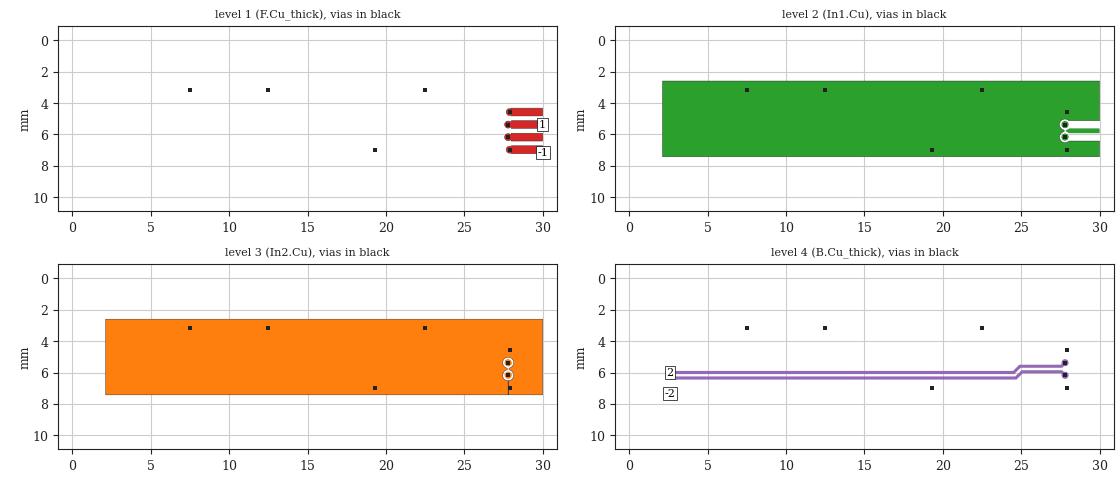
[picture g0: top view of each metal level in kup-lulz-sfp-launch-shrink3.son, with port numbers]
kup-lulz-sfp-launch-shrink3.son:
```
FTYP SONPROJ 19 ! Sonnet Project File
VER 18.56
HEADER
LIC antikernel2.1.52448
DAT 03/01/2024 21:17:01
BUILT_BY_CREATED dxf 18.56 02/22/2024 23:40:04
BUILT_BY_SAVED sonnet 18.56
MDATE 03/01/2024 21:17:01
HDATE 03/01/2024 21:17:01
ANN Created by dxfgeo, Sonnet Software Inc.
END HEADER
DIM
ANG DEG
CAP PF
CON /OH
FREQ GHZ
IND NH
LNG MM
RES OH
END DIM
CONTROL
VARSWP
OPTIONS  -dj
SPEED 1
CACHE_ABS 2
Q_ACC N
END CONTROL
GEO
TMET "Free Space" 0 FREESPACE 376.7303136 0 0 0
BMET "Free Space" 0 FREESPACE 376.7303136 0 0 0
MET "Copper_1oz+plated_thick_up" 1 TMM 58000000 0.5 0.0432 2
MET "Copper_1oz+plated_thin" 4 NOR 58000000 0.5 0.0432 
MET "Copper_0.5oz_thin" 2 NOR 58000000 0.5 0.0175 
MET "Copper_1oz+plated_thick_down" 3 TMM 58000000 0.5 0.0432 2 CDVY TDWN
BOX 6 30 10 2400 800 20 0
      10 1 1 0 0 0 0 "Air"
      0.05 3.5 1 0.02 0 0 0 "Soldermask"
      0.2021 3.61 1 0.0092 0 0 0 "Isola_FR408HR"
      1.1938 3.61 1 0.0092 0 0 0 "Isola_FR408HR"
      0.2021 3.61 1 0.0092 0 0 0 "Isola_FR408HR"
      0.05 3.5 1 0.02 0 0 0 "Soldermask"
      10 1 1 0 0 0 0 "Air"
TECHLAY METAL F.Cu_thick L1D0 -1 -65534 CAD F.Cu drawing 
1 0 0 N 2088 1 1 100 100 0 0 0 Y
END
END
TECHLAY METAL F.Cu_thin <UNSPECIFIED> -2 -65534 CAD F.Cu_thin drawing 
1 0 1 N 2090 1 1 100 100 0 0 0 Y
END
END
TECHLAY VIA Via1 L5D0 -7 -65534 CAD Via1 drawing 
VIA POLYGON
1 0 -1 N 2604 1 1 100 100 0 0 0 Y
TOLEVEL 4 RING NOCOVERS
END
END
TECHLAY METAL In1.Cu L2D0 -3 -65534 CAD In1.Cu drawing 
2 0 2 N 2095 1 1 100 100 0 0 0 Y
END
END
TECHLAY METAL In2.Cu L3D0 -4 -65534 CAD In2.Cu drawing 
3 0 2 N 2098 1 1 100 100 0 0 0 Y
END
END
TECHLAY METAL B.Cu_thick L4D0 -5 -65534 CAD B.Cu drawing 
4 0 3 N 2101 1 1 100 100 0 0 0 Y
END
END
TECHLAY METAL B.Cu_thin <UNSPECIFIED> -6 -65534 CAD B.Cu_thin drawing 
4 0 1 N 2103 1 1 100 100 0 0 0 Y
END
END
LORGN 0 10 U 
POR1 BOX
POLY 2221 1
51
1 100 0 0 0 29.993 5.371 
POR1 BOX
POLY 2454 1
51
-1 100 0 0 0 29.993 6.171 
POR1 CUP Auto
GNDREF AUTO
TERMW FEED
POLY 2587 1
84
2 100 0 0 0 2.6 5.996 
CUPGRP "Auto" LOCAL
ID 2605
END
POR1 CUP Auto
GNDREF AUTO
TERMW FEED
POLY 2588 1
82
-2 100 0 0 0 2.6 6.346 
CUPGRP "Auto" LOCAL
ID 2606
END
NUM 21
1 53 0 N 2221 1 1 100 100 0 0 0 Y
TLAYNAM F.Cu_thick INH
29.993 5.621
27.993 5.621
27.993 5.561
27.914 5.561
27.909 5.564
27.889 5.574
27.869 5.583
27.848 5.589
27.826 5.594
27.804 5.596
27.782 5.596
27.76 5.594
27.738 5.589
27.717 5.583
27.697 5.574
27.677 5.564
27.659 5.552
27.642 5.538
27.626 5.522
27.612 5.505
27.6 5.487
27.59 5.467
27.581 5.447
27.575 5.426
27.57 5.404
27.568 5.382
27.568 5.36
27.57 5.338
27.575 5.316
27.581 5.295
27.59 5.275
27.6 5.255
27.612 5.237
27.626 5.22
27.642 5.204
27.659 5.19
27.677 5.178
27.697 5.168
27.717 5.159
27.738 5.153
27.76 5.148
27.782 5.146
27.804 5.146
27.826 5.148
27.848 5.153
27.869 5.159
27.889 5.168
27.909 5.178
27.914 5.181
27.993 5.181
27.993 5.121
29.993 5.121
29.993 5.621
END
1 49 0 N 2225 1 1 100 100 0 0 0 Y
TLAYNAM F.Cu_thick INH
29.993 7.221
27.993 7.221
27.993 7.172
27.989 7.174
27.969 7.183
27.948 7.189
27.926 7.194
27.904 7.196
27.882 7.196
27.86 7.194
27.838 7.189
27.817 7.183
27.797 7.174
27.777 7.164
27.759 7.152
27.742 7.138
27.726 7.122
27.712 7.105
27.7 7.087
27.69 7.067
27.681 7.047
27.675 7.026
27.67 7.004
27.668 6.982
27.668 6.96
27.67 6.938
27.675 6.916
27.681 6.895
27.69 6.875
27.7 6.855
27.712 6.837
27.726 6.82
27.742 6.804
27.759 6.79
27.777 6.778
27.797 6.768
27.817 6.759
27.838 6.753
27.86 6.748
27.882 6.746
27.904 6.746
27.926 6.748
27.948 6.753
27.969 6.759
27.989 6.768
27.993 6.77
27.993 6.721
29.993 6.721
29.993 7.221
END
1 49 0 N 2400 1 1 100 100 0 0 0 Y
TLAYNAM F.Cu_thick INH
29.993 4.821
27.993 4.821
27.993 4.772
27.989 4.774
27.969 4.783
27.948 4.789
27.926 4.794
27.904 4.796
27.882 4.796
27.86 4.794
27.838 4.789
27.817 4.783
27.797 4.774
27.777 4.764
27.759 4.752
27.742 4.738
27.726 4.722
27.712 4.705
27.7 4.687
27.69 4.667
27.681 4.647
27.675 4.626
27.67 4.604
27.668 4.582
27.668 4.56
27.67 4.538
27.675 4.516
27.681 4.495
27.69 4.475
27.7 4.455
27.712 4.437
27.726 4.42
27.742 4.404
27.759 4.39
27.777 4.378
27.797 4.368
27.817 4.359
27.838 4.353
27.86 4.348
27.882 4.346
27.904 4.346
27.926 4.348
27.948 4.353
27.969 4.359
27.989 4.368
27.993 4.37
27.993 4.321
29.993 4.321
29.993 4.821
END
1 53 0 N 2454 1 1 100 100 0 0 0 Y
TLAYNAM F.Cu_thick INH
29.993 6.421
27.993 6.421
27.993 6.361
27.914 6.361
27.909 6.364
27.889 6.374
27.869 6.383
27.848 6.389
27.826 6.394
27.804 6.396
27.782 6.396
27.76 6.394
27.738 6.389
27.717 6.383
27.697 6.374
27.677 6.364
27.659 6.352
27.642 6.338
27.626 6.322
27.612 6.305
27.6 6.287
27.59 6.267
27.581 6.247
27.575 6.226
27.57 6.204
27.568 6.182
27.568 6.16
27.57 6.138
27.575 6.116
27.581 6.095
27.59 6.075
27.6 6.055
27.612 6.037
27.626 6.02
27.642 6.004
27.659 5.99
27.677 5.978
27.697 5.968
27.717 5.959
27.738 5.953
27.76 5.948
27.782 5.946
27.804 5.946
27.826 5.948
27.848 5.953
27.869 5.959
27.889 5.968
27.909 5.978
27.914 5.981
27.993 5.981
27.993 5.921
29.993 5.921
29.993 6.421
END
VIA POLYGON
1 5 -1 N 2214 1 1 100 100 0 0 0 Y
TOLEVEL 4 RING NOCOVERS
TLAYNAM Via1 INH
28.018 7.096
27.768 7.096
27.768 6.846
28.018 6.846
28.018 7.096
END
VIA POLYGON
1 5 -1 N 2230 1 1 100 100 0 0 0 Y
TOLEVEL 4 RING NOCOVERS
TLAYNAM Via1 INH
19.418 7.096
19.168 7.096
19.168 6.846
19.418 6.846
19.418 7.096
END
VIA POLYGON
1 5 -1 N 2265 1 1 100 100 0 0 0 Y
TOLEVEL 4 RING NOCOVERS
TLAYNAM Via1 INH
27.918 5.496
27.668 5.496
27.668 5.246
27.918 5.246
27.918 5.496
END
VIA POLYGON
1 5 -1 N 2286 1 1 100 100 0 0 0 Y
TOLEVEL 4 RING NOCOVERS
TLAYNAM Via1 INH
28.018 4.696
27.768 4.696
27.768 4.446
28.018 4.446
28.018 4.696
END
VIA POLYGON
1 5 -1 N 2346 1 1 100 100 0 0 0 Y
TOLEVEL 4 RING NOCOVERS
TLAYNAM Via1 INH
27.918 6.296
27.668 6.296
27.668 6.046
27.918 6.046
27.918 6.296
END
VIA POLYGON
1 5 -1 N 2384 1 1 100 100 0 0 0 Y
TOLEVEL 4 RING NOCOVERS
TLAYNAM Via1 INH
7.618 3.296
7.368 3.296
7.368 3.046
7.618 3.046
7.618 3.296
END
VIA POLYGON
1 5 -1 N 2434 1 1 100 100 0 0 0 Y
TOLEVEL 4 RING NOCOVERS
TLAYNAM Via1 INH
12.618 3.296
12.368 3.296
12.368 3.046
12.618 3.046
12.618 3.296
END
VIA POLYGON
1 5 -1 N 2448 1 1 100 100 0 0 0 Y
TOLEVEL 4 RING NOCOVERS
TLAYNAM Via1 INH
22.618 3.296
22.368 3.296
22.368 3.046
22.618 3.046
22.618 3.296
END
2 65 2 N 2275 1 1 100 100 0 0 0 Y
TLAYNAM In1.Cu INH
28.018 6.182
28.016 6.204
28.011 6.226
28.005 6.247
27.996 6.267
27.986 6.287
27.974 6.305
27.96 6.322
27.944 6.338
27.927 6.352
27.909 6.364
27.889 6.374
27.869 6.383
27.848 6.389
27.826 6.394
27.804 6.396
27.782 6.396
27.76 6.394
27.738 6.389
27.717 6.383
27.697 6.374
27.677 6.364
27.659 6.352
27.642 6.338
27.626 6.322
27.612 6.305
27.6 6.287
27.59 6.267
27.581 6.247
27.575 6.226
27.57 6.204
27.568 6.182
27.568 6.16
27.57 6.138
27.575 6.116
27.581 6.095
27.59 6.075
27.6 6.055
27.612 6.037
27.626 6.02
27.642 6.004
27.659 5.99
27.677 5.978
27.697 5.968
27.717 5.959
27.738 5.953
27.76 5.948
27.782 5.946
27.804 5.946
27.826 5.948
27.848 5.953
27.869 5.959
27.889 5.968
27.909 5.978
27.927 5.99
27.944 6.004
27.96 6.02
27.974 6.037
27.986 6.055
27.996 6.075
28.005 6.095
28.011 6.116
28.016 6.138
28.018 6.16
28.018 6.182
END
2 65 2 N 2277 1 1 100 100 0 0 0 Y
TLAYNAM In1.Cu INH
28.018 5.382
28.016 5.404
28.011 5.426
28.005 5.447
27.996 5.467
27.986 5.487
27.974 5.505
27.96 5.522
27.944 5.538
27.927 5.552
27.909 5.564
27.889 5.574
27.869 5.583
27.848 5.589
27.826 5.594
27.804 5.596
27.782 5.596
27.76 5.594
27.738 5.589
27.717 5.583
27.697 5.574
27.677 5.564
27.659 5.552
27.642 5.538
27.626 5.522
27.612 5.505
27.6 5.487
27.59 5.467
27.581 5.447
27.575 5.426
27.57 5.404
27.568 5.382
27.568 5.36
27.57 5.338
27.575 5.316
27.581 5.295
27.59 5.275
27.6 5.255
27.612 5.237
27.626 5.22
27.642 5.204
27.659 5.19
27.677 5.178
27.697 5.168
27.717 5.159
27.738 5.153
27.76 5.148
27.782 5.146
27.804 5.146
27.826 5.148
27.848 5.153
27.869 5.159
27.889 5.168
27.909 5.178
27.927 5.19
27.944 5.204
27.96 5.22
27.974 5.237
27.986 5.255
27.996 5.275
28.005 5.295
28.011 5.316
28.016 5.338
28.018 5.36
28.018 5.382
END
2 16 2 N 2478 1 1 100 100 0 0 0 Y
TLAYNAM In1.Cu INH
29.993 5.621
28.064 5.621
28.021 5.639
28.002 5.658
27.903 5.708
27.892 5.71
27.865 5.721
27.84 5.761
27.851 5.807
27.892 5.832
27.903 5.833
28.002 5.884
28.021 5.903
28.064 5.921
29.993 5.921
29.993 5.621
END
2 44 2 N 2585 1 1 100 100 0 0 0 Y
TLAYNAM In1.Cu INH
29.993 6.421
28.064 6.421
28.021 6.439
28.002 6.458
27.903 6.508
27.793 6.526
27.683 6.508
27.584 6.458
27.578 6.452
27.578 6.452
27.506 6.38
27.456 6.281
27.438 6.171
27.456 6.061
27.506 5.962
27.584 5.884
27.683 5.833
27.694 5.832
27.721 5.821
27.746 5.781
27.735 5.735
27.694 5.71
27.683 5.708
27.584 5.658
27.506 5.58
27.456 5.481
27.438 5.371
27.456 5.261
27.506 5.162
27.584 5.084
27.683 5.033
27.793 5.016
27.903 5.033
27.944 5.055
28.002 5.084
28.021 5.103
28.064 5.121
29.993 5.121
29.993 4.775
29.993 2.594
2.125 2.594
2.125 7.421
29.993 7.421
29.993 6.421
END
3 65 2 N 2252 1 1 100 100 0 0 0 Y
TLAYNAM In2.Cu INH
28.018 6.182
28.016 6.204
28.011 6.226
28.005 6.247
27.996 6.267
27.986 6.287
27.974 6.305
27.96 6.322
27.944 6.338
27.927 6.352
27.909 6.364
27.889 6.374
27.869 6.383
27.848 6.389
27.826 6.394
27.804 6.396
27.782 6.396
27.76 6.394
27.738 6.389
27.717 6.383
27.697 6.374
27.677 6.364
27.659 6.352
27.642 6.338
27.626 6.322
27.612 6.305
27.6 6.287
27.59 6.267
27.581 6.247
27.575 6.226
27.57 6.204
27.568 6.182
27.568 6.16
27.57 6.138
27.575 6.116
27.581 6.095
27.59 6.075
27.6 6.055
27.612 6.037
27.626 6.02
27.642 6.004
27.659 5.99
27.677 5.978
27.697 5.968
27.717 5.959
27.738 5.953
27.76 5.948
27.782 5.946
27.804 5.946
27.826 5.948
27.848 5.953
27.869 5.959
27.889 5.968
27.909 5.978
27.927 5.99
27.944 6.004
27.96 6.02
27.974 6.037
27.986 6.055
27.996 6.075
28.005 6.095
28.011 6.116
28.016 6.138
28.018 6.16
28.018 6.182
END
3 65 2 N 2411 1 1 100 100 0 0 0 Y
TLAYNAM In2.Cu INH
28.018 5.382
28.016 5.404
28.011 5.426
28.005 5.447
27.996 5.467
27.986 5.487
27.974 5.505
27.96 5.522
27.944 5.538
27.927 5.552
27.909 5.564
27.889 5.574
27.869 5.583
27.848 5.589
27.826 5.594
27.804 5.596
27.782 5.596
27.76 5.594
27.738 5.589
27.717 5.583
27.697 5.574
27.677 5.564
27.659 5.552
27.642 5.538
27.626 5.522
27.612 5.505
27.6 5.487
27.59 5.467
27.581 5.447
27.575 5.426
27.57 5.404
27.568 5.382
27.568 5.36
27.57 5.338
27.575 5.316
27.581 5.295
27.59 5.275
27.6 5.255
27.612 5.237
27.626 5.22
27.642 5.204
27.659 5.19
27.677 5.178
27.697 5.168
27.717 5.159
27.738 5.153
27.76 5.148
27.782 5.146
27.804 5.146
27.826 5.148
27.848 5.153
27.869 5.159
27.889 5.168
27.909 5.178
27.927 5.19
27.944 5.204
27.96 5.22
27.974 5.237
27.986 5.255
27.996 5.275
28.005 5.295
28.011 5.316
28.016 5.338
28.018 5.36
28.018 5.382
END
3 64 2 N 2586 1 1 100 100 0 0 0 Y
TLAYNAM In2.Cu INH
29.993 4.825
29.993 3.972
29.993 3.57
29.993 3.172
29.993 2.77
29.993 2.631454545
29.993 2.594
2.125 2.594
2.125 7.421
27.793 7.421
27.793 6.526
27.683 6.508
27.584 6.458
27.578 6.452
27.506 6.38
27.456 6.281
27.438 6.171
27.456 6.061
27.506 5.962
27.584 5.884
27.683 5.833
27.694 5.832
27.721 5.821
27.746 5.781
27.735 5.735
27.694 5.71
27.683 5.708
27.584 5.658
27.506 5.58
27.456 5.481
27.438 5.371
27.456 5.261
27.506 5.162
27.584 5.084
27.683 5.033
27.793 5.016
27.903 5.033
27.944 5.055
28.002 5.084
28.08 5.162
28.131 5.261
28.148 5.371
28.131 5.481
28.08 5.58
28.002 5.658
27.903 5.708
27.892 5.71
27.865 5.721
27.84 5.761
27.851 5.807
27.892 5.832
27.903 5.833
28.002 5.884
28.08 5.962
28.131 6.061
28.148 6.171
28.131 6.281
28.08 6.38
28.002 6.458
27.903 6.508
27.793 6.526
27.793 7.421
29.993 7.421
29.993 4.825
END
4 88 3 N 2587 1 1 100 100 0 0 0 Y
TLAYNAM B.Cu_thick INH
24.536 6.095
24.545 6.093
24.555 6.09
24.564 6.087
24.572 6.082
24.581 6.076
24.588 6.07
24.962 5.696
27.573 5.696
27.583 5.695
27.593 5.693
27.611 5.687
27.62 5.682
27.628 5.676
27.635 5.67
27.636 5.67
27.643 5.663
27.649 5.656
27.721 5.584
27.738 5.589
27.76 5.594
27.782 5.596
27.804 5.596
27.826 5.594
27.848 5.589
27.869 5.583
27.889 5.574
27.909 5.564
27.927 5.552
27.944 5.538
27.96 5.522
27.974 5.505
27.986 5.487
27.996 5.467
28.005 5.447
28.011 5.426
28.016 5.404
28.018 5.382
28.018 5.36
28.016 5.338
28.011 5.316
28.005 5.295
27.996 5.275
27.986 5.255
27.974 5.237
27.96 5.22
27.944 5.204
27.927 5.19
27.909 5.178
27.889 5.168
27.869 5.159
27.848 5.153
27.826 5.148
27.804 5.146
27.782 5.146
27.76 5.148
27.738 5.153
27.717 5.159
27.697 5.168
27.677 5.178
27.659 5.19
27.642 5.204
27.626 5.22
27.612 5.237
27.6 5.255
27.59 5.275
27.581 5.295
27.575 5.316
27.57 5.338
27.568 5.36
27.568 5.382
27.57 5.404
27.575 5.426
27.58 5.443
27.527 5.496
24.916 5.496
24.906 5.497
24.897 5.499
24.887 5.502
24.878 5.505
24.87 5.51
24.861 5.516
24.854 5.522
24.48 5.896
2.6 5.896
2.6 6.096
24.526 6.096
24.536 6.095
END
4 86 3 N 2588 1 1 100 100 0 0 0 Y
TLAYNAM B.Cu_thick INH
24.68 6.445
24.689 6.443
24.699 6.44
24.708 6.437
24.716 6.432
24.725 6.426
24.732 6.42
25.106 6.046
27.527 6.046
27.58 6.099
27.575 6.116
27.57 6.138
27.568 6.16
27.568 6.182
27.57 6.204
27.575 6.226
27.581 6.247
27.59 6.267
27.6 6.287
27.612 6.305
27.626 6.322
27.642 6.338
27.659 6.352
27.677 6.364
27.697 6.374
27.717 6.383
27.738 6.389
27.76 6.394
27.782 6.396
27.804 6.396
27.826 6.394
27.848 6.389
27.869 6.383
27.889 6.374
27.909 6.364
27.927 6.352
27.944 6.338
27.96 6.322
27.974 6.305
27.986 6.287
27.996 6.267
28.005 6.247
28.011 6.226
28.016 6.204
28.018 6.182
28.018 6.16
28.016 6.138
28.011 6.116
28.005 6.095
27.996 6.075
27.986 6.055
27.974 6.037
27.96 6.02
27.944 6.004
27.927 5.99
27.909 5.978
27.889 5.968
27.869 5.959
27.848 5.953
27.826 5.948
27.804 5.946
27.782 5.946
27.76 5.948
27.738 5.953
27.721 5.958
27.635 5.872
27.628 5.866
27.619 5.86
27.611 5.855
27.602 5.852
27.592 5.849
27.583 5.847
27.573 5.846
25.06 5.846
25.05 5.847
25.041 5.849
25.031 5.852
25.022 5.855
25.014 5.86
25.005 5.866
24.998 5.872
24.624 6.246
2.6 6.246
2.6 6.446
24.67 6.446
24.68 6.445
END
END GEO
OPT
MAX 100
END OPT
VARSWP
ENABLED Y
FREQ Y AY ABS_ENTRY 0.1 40.0 -1 300 
END
END VARSWP
```
